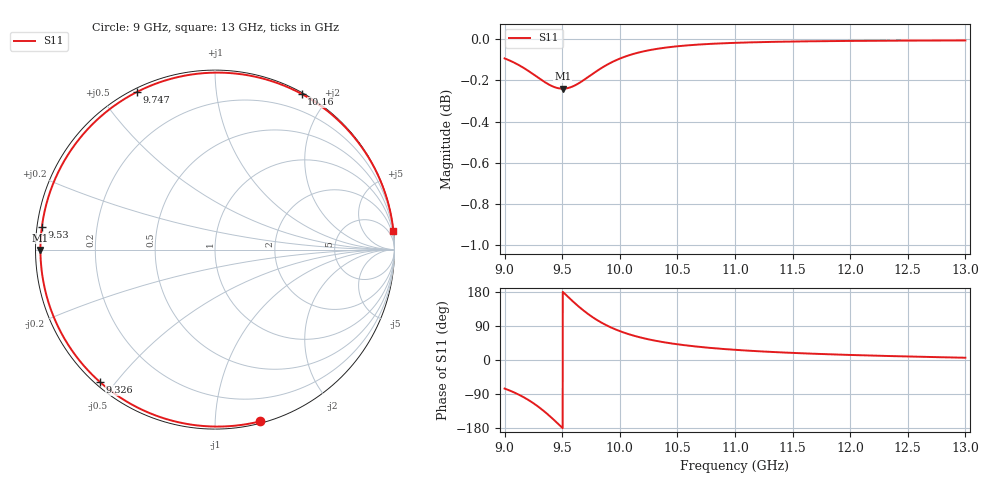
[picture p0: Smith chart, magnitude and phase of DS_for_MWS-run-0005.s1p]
! TOUCHSTONE file generated by CST DESIGN STUDIO
! Date and time: Tue Feb  4 12:36:31 2025
! Project name: C:\Work\MatlabApps\UnitCellOptimizationMatlab\CST\unitcell.cst
! Tree item: Tasks\Sweep1\SPara1\S-Parameters
! Header version: 2024
! Port assignment regex: !\s*Touchstone port\s*([0-9]+)\s*=\s*(CST MWS port|CST DES external port|CST DES block port)\s*(.+)\s* \(\"(.*)\"\)(\s*mode\s*([0-9]+))?.*
! Touchstone port assignment:
! Touchstone port 1 = CST DES external port 1 ("")
# GHz S MA R 50
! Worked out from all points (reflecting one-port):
!   4001 points, 9 GHz to 13 GHz, reference 50 ohm
!   lowest |S11| = -0.2 dB at 9.504 GHz (marker M1), VSWR 72.28, Z = 0.692 - j0.0612 ohm
!   phase of S11 starts at -75 deg and turns -279 deg over the sweep
!   S11 on the Smith chart (normalised r, x): 9 GHz: 0.01, -1.30; 9.326 GHz: 0.01, -0.45; 9.53 GHz: 0.01, +0.06; 9.747 GHz: 0.01, +0.62; 10.16 GHz: 0.01, +1.70; 13 GHz: 0, +19
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9  0.9893 -75.3
9.086  0.9869 -86.1
9.188  0.9832 -102.1
9.26  0.9801 -116.1
9.326  0.9772 -131.1
9.372  0.9754 -142.7
9.421  0.9738 -156.0
9.461  0.973 -167.4
9.5  0.9727 -178.7
9.504  0.9727 -179.9
9.53  0.9728 172.6
9.584  0.9738 157.1
9.644  0.9757 140.9
9.695  0.9778 128.2
9.747  0.9801 116.5
9.799  0.9823 106.1
9.857  0.9847 95.9
9.928  0.9871 85.3
10  0.9892 76.2
10.161  0.9926 60.9
10.315  0.9946 50.5
10.5  0.9961 41.5
10.722  0.9972 33.7
11  0.998 26.9
11.5  0.9987 18.7
12  0.9991 13.3
12.5  0.9992 9.3
13  0.9993 6.0
